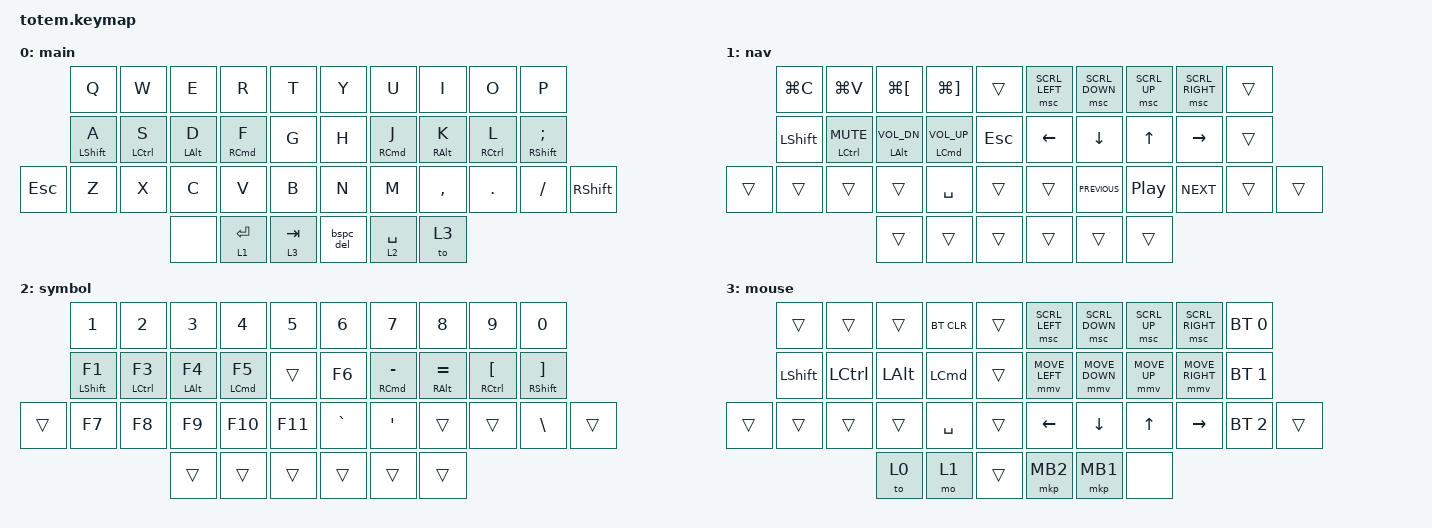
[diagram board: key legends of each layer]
#define ZMK_POINTING_DEFAULT_MOVE_VAL 1500
#define ZMK_POINTING_TIME_TO_MAX 2500

#include <behaviors.dtsi>
#include <dt-bindings/zmk/bt.h>
#include <dt-bindings/zmk/keys.h>
#include <dt-bindings/zmk/pointing.h>

/ {
    combos { compatible = "zmk,combos"; };

    behaviors {
        hm: homerow_mods {
            compatible = "zmk,behavior-hold-tap";
            label = "HOMEROW_MODS";
            bindings = <&kp>, <&kp>;

            #binding-cells = <2>;
            tapping-term-ms = <200>;
            flavor = "tap-preferred";
        };

        bspc_del: backspace_delete {
            compatible = "zmk,behavior-mod-morph";
            label = "BSPC_DEL";
            bindings = <&kp BACKSPACE>, <&kp DELETE>;

            #binding-cells = <0>;
            mods = <(MOD_LSFT|MOD_RSFT)>;
            keep-mods = <(MOD_RSFT)>;
        };

        hm_ex: homerow_mods_extended {
            compatible = "zmk,behavior-hold-tap";
            label = "HOMEROW_MODS_EXTENDED";
            bindings = <&kp>, <&kp>;

            #binding-cells = <2>;
            tapping-term-ms = <275>;
            flavor = "tap-preferred";
            quick-tap-ms = <175>;
        };
    };

    keymap {
        compatible = "zmk,keymap";

        main {
            bindings = <
         &kp Q             &kp W                  &kp E              &kp R                   &kp T        &kp Y      &kp U                   &kp I               &kp O                   &kp P
         &hm LEFT_SHIFT A  &hm_ex LEFT_CONTROL S  &hm_ex LEFT_ALT D  &hm_ex RIGHT_COMMAND F  &kp G        &kp H      &hm_ex RIGHT_COMMAND J  &hm_ex RIGHT_ALT K  &hm_ex RIGHT_CONTROL L  &hm RIGHT_SHIFT SEMICOLON
&kp ESC  &kp Z             &kp X                  &kp C              &kp V                   &kp B        &kp N      &kp M                   &kp COMMA           &kp DOT                 &kp FSLH                   &kp RSHFT
                                                  &none              &lt 1 ENTER             &lt 3 TAB    &bspc_del  &lt 2 SPACE             &to 3
            >;
        };

        nav {
            bindings = <
        &kp LG(C)       &kp LG(V)                &kp LG(LEFT_BRACKET)   &kp LG(RIGHT_BRACKET)      &trans        &msc SCRL_LEFT  &msc SCRL_DOWN  &msc SCRL_UP  &msc SCRL_RIGHT  &trans
        &kp LEFT_SHIFT  &hm LEFT_CONTROL C_MUTE  &hm LEFT_ALT C_VOL_DN  &hm LEFT_COMMAND C_VOL_UP  &kp ESCAPE    &kp LEFT        &kp DOWN        &kp UP        &kp RIGHT        &trans
&trans  &trans          &trans                   &trans                 &kp SPACE                  &trans        &trans          &kp C_PREVIOUS  &kp C_PP      &kp C_NEXT       &trans  &trans
                                                 &trans                 &trans                     &trans        &trans          &trans          &trans
            >;
        };

        symbol {
            bindings = <
        &kp N1             &kp N2               &kp N3           &kp N4               &kp N5     &kp N6     &kp N7                   &kp N8               &kp N9                          &kp N0
        &hm LEFT_SHIFT F1  &hm LEFT_CONTROL F3  &hm LEFT_ALT F4  &hm LEFT_COMMAND F5  &trans     &kp F6     &hm RIGHT_COMMAND MINUS  &hm RIGHT_ALT EQUAL  &hm RIGHT_CONTROL LEFT_BRACKET  &hm RIGHT_SHIFT RIGHT_BRACKET
&trans  &kp F7             &kp F8               &kp F9           &kp F10              &kp F11    &kp GRAVE  &kp APOSTROPHE           &trans               &trans                          &kp BSLH                       &trans
                                                &trans           &trans               &trans     &trans     &trans                   &trans
            >;
        };

        mouse {
            bindings = <
        &trans          &trans            &trans        &bt BT_CLR        &trans    &msc SCRL_LEFT  &msc SCRL_DOWN  &msc SCRL_UP  &msc SCRL_RIGHT  &bt BT_SEL 0
        &kp LEFT_SHIFT  &kp LEFT_CONTROL  &kp LEFT_ALT  &kp LEFT_COMMAND  &trans    &mmv MOVE_LEFT  &mmv MOVE_DOWN  &mmv MOVE_UP  &mmv MOVE_RIGHT  &bt BT_SEL 1
&trans  &trans          &trans            &trans        &kp SPACE         &trans    &kp LEFT        &kp DOWN        &kp UP_ARROW  &kp RIGHT        &bt BT_SEL 2  &trans
                                          &to 0         &mo 1             &trans    &mkp MB2        &mkp MB1        &none
            >;
        };
    };
};
